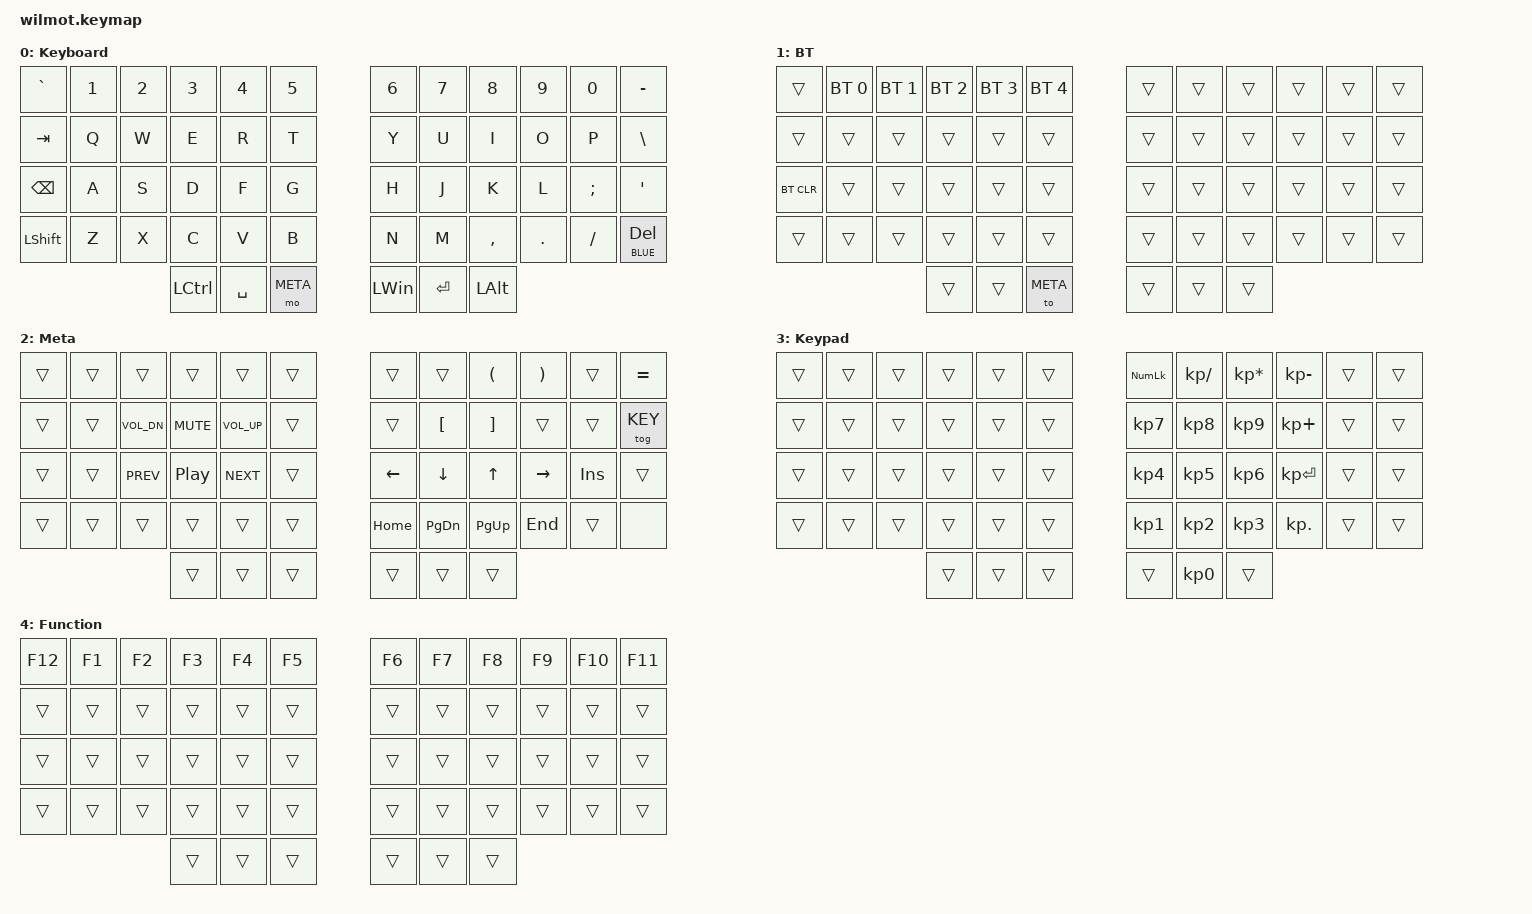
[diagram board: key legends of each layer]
#include <behaviors.dtsi>
#include <dt-bindings/zmk/keys.h>
#include <dt-bindings/zmk/bt.h>

#define DEFAULT 0
#define BLUE 1
#define META 2
#define KEY 3
#define FUNCTION 4

/ {
    combos {
        compatible = "zmk,combos";
        combo_esc {
            timeout-ms = <50>;
            key-positions = <13 14>; // pressing Q and W at the same time
            bindings = <&kp ESC>;
        };

        combo_function_layer {
            timeout-ms = <50>;
            key-positions = <49 50>; // pressing SPACE and META at the same time
            bindings = <&mo FUNCTION>;
        };
    };

    keymap {
        compatible = "zmk,keymap";

        default_layer { // DEFAULT
            
            display-name = "Keyboard"; //max of 8 characters

            bindings = <
        //   -------------------------------------------------------------                        -------------------------------------------------------------
        //   |    `    |    1    |    2    |    3    |    4    |    5    |                        |    6    |    7    |    8    |    9    |    0    |   -     |
              &kp GRAVE   &kp N1    &kp N2    &kp N3    &kp N4    &kp N5                             &kp N6    &kp N7    &kp N8    &kp N9    &kp N0  &kp MINUS 
        //   -------------------------------------------------------------                        -------------------------------------------------------------
        //   |   TAB   |    Q    |    W    |    E    |    R    |    T    |                        |    Y    |    U    |    I    |    O    |    P    |   \     |
               &kp TAB    &kp Q     &kp W     &kp E     &kp R     &kp T                              &kp Y     &kp U     &kp I     &kp O     &kp P    &kp BSLH
        //   -------------------------------------------------------------                        -------------------------------------------------------------
        //   |BACKSPACE|    A    |    S    |    D    |    F    |    G    |                        |    H    |    J    |    K    |    L    |    ;    |   '     |
           &kp BACKSPACE  &kp A     &kp S     &kp D     &kp F     &kp G                              &kp H     &kp J     &kp K     &kp L    &kp SEMI  &kp SQT 
        //   -------------------------------------------------------------                        -------------------------------------------------------------
        //   |  SHIFT  |    Z    |    X    |    C    |    V    |    B    |                        |    N    |    M    |    ,    |    .    |    /    |BLUE/DEL |
             &kp LSHIFT   &kp Z     &kp X     &kp C     &kp V     &kp B                              &kp N     &kp M   &kp COMMA &kp PERIOD &kp SLASH &lt BLUE DELETE
        //   ------------------------------------------------------------------------   -----------------------------------------------------------------------
        //                                           |   CTRL  |  SPACE  |META(TEMP)|   | WINDOWS |  ENTER  |   ALT   |
                                                      &kp LCTRL &kp SPACE  &mo META      &kp LWIN  &kp ENTER  &kp LALT 
        //                                           --------------------------------   -------------------------------
            >;
        };


        bluetooth_layer { // BLUE

            display-name = "BT"; //max of 8 characters

            bindings = <
        //   -------------------------------------------------------------------------------         -------------------------------------------------------------
        //   |            |     BT0    |     BT1    |     BT2    |     BT3    |     BT4    |         |         |         |         |         |         |         |
                 &trans    &bt BT_SEL 0 &bt BT_SEL 1 &bt BT_SEL 2 &bt BT_SEL 3 &bt BT_SEL 4            &trans    &trans    &trans    &trans    &trans    &trans  
        //   -------------------------------------------------------------------------------         -------------------------------------------------------------
        //   |            |            |            |            |            |            |         |         |         |         |         |         |         |
                 &trans       &trans       &trans       &trans       &trans       &trans               &trans    &trans    &trans    &trans    &trans    &trans  
        //   -------------------------------------------------------------------------------         -------------------------------------------------------------
        //   |  BT CLEAR  |            |            |            |            |            |         |         |         |         |         |         |         |
               &bt BT_CLR     &trans       &trans       &trans       &trans       &trans               &trans    &trans    &trans    &trans    &trans    &trans  
        //   -------------------------------------------------------------------------------         -------------------------------------------------------------
        //   |            |            |            |            |            |            |         |         |         |         |         |         |         |
                 &trans       &trans       &trans       &trans       &trans       &trans               &trans    &trans    &trans    &trans    &trans    &trans  
        //   -------------------------------------------------------------------------------         -----------------------------------------------------------------------
        //                                           |           |            |META(TOGGLE)|         |         |         |         |
                                                        &trans       &trans      &to META              &trans    &trans    &trans   
        //                                           ---------------------------------------         -------------------------------
            >;
        };


        meta_layer { // META

            display-name = "Meta"; //max of 8 characters

            bindings = <
        //   -------------------------------------------------------------                        -------------------------------------------------------------
        //   |         |         |         |         |         |         |                        |         |         |    (    |    )    |         |    =+   |
               &trans     &trans    &trans    &trans    &trans    &trans                            &trans     &trans   &kp LPAR  &kp RPAR   &trans  &kp EQUAL 
        //   -------------------------------------------------------------                        -------------------------------------------------------------
        //   |         |         | VOL DOWN|  MUTE   | VOL UP  |         |                        |         |   [     |    ]    |         |         | KEYPAD  |
               &trans   &trans &kp C_VOL_DN &kp C_MUTE &kp C_VOL_UP &trans                           &trans  &kp LBKT  &kp RBKT    &trans    &trans  &tog KEY  
        //   -------------------------------------------------------------                        -------------------------------------------------------------
        //   |         |         |  PREV   |PLAY/PAUS|   NEXT  |         |                        |  LEFT   |  DOWN   |   UP    |  RIGHT  | INSERT  |         |
                &trans    &trans  &kp C_PREV &kp C_PP &kp C_NEXT  &trans                            &kp LEFT  &kp DOWN  &kp UP   &kp RIGHT  &kp INS    &trans  
        //   -------------------------------------------------------------                        -------------------------------------------------------------
        //   |         |         |         |         |         |         |                        |  HOME   | PG DOWN |  PG UP  |   END   |         |         |
               &trans     &trans    &trans    &trans    &trans    &trans                            &kp HOME &kp PG_DN &kp PG_UP  &kp END   &trans     &none   
        //   ------------------------------------------------------------------------   -----------------------------------------------------------------------
        //                                           |         |         |          |   |         |         |         |
                                                        &trans    &trans    &trans        &trans    &trans    &trans
        //                                           --------------------------------   -------------------------------
            >;
        };

        
        keypad_layer { // KEY

            display-name = "Keypad"; //max of 8 characters

            bindings = <
        //   -------------------------------------------------------------                        -------------------------------------------------------------
        //   |         |         |         |         |         |         |                        | NUM LOCK|    /    |    *    |    -    |         |         |
               &trans     &trans    &trans    &trans    &trans    &trans                        &kp KP_NUM &kp KP_SLASH &kp KP_MULTIPLY &kp KP_MINUS &trans &trans  
        //   -------------------------------------------------------------                        -------------------------------------------------------------
        //   |         |         |         |         |         |         |                        |    7    |    8    |    9    |    +    |         |         |
               &trans     &trans    &trans    &trans    &trans    &trans                           &kp KP_N7 &kp KP_N8 &kp KP_N9 &kp KP_PLUS &trans    &trans  
        //   -------------------------------------------------------------                        -------------------------------------------------------------
        //   |         |         |         |         |         |         |                        |    4    |    5    |    6    |  ENTER  |         |         |
               &trans     &trans    &trans    &trans    &trans    &trans                           &kp KP_N4 &kp KP_N5 &kp KP_N6 &kp KP_ENTER &trans   &trans  
        //   -------------------------------------------------------------                        -------------------------------------------------------------
        //   |         |         |         |         |         |         |                        |    1    |    2    |    3    |    .    |         |         |
               &trans     &trans    &trans    &trans    &trans    &trans                           &kp KP_N1 &kp KP_N2 &kp KP_N3 &kp KP_DOT  &trans    &trans  
        //   ------------------------------------------------------------------------   -----------------------------------------------------------------------
        //                                           |         |         |          |   |         |   0     |         |
                                                        &trans    &trans    &trans        &trans   &kp KP_N0  &trans
        //                                           --------------------------------   -------------------------------
            >;
        };


        function_layer { // FUNCTION

            display-name = "Function"; //max of 8 characters

            bindings = <
        //   -------------------------------------------------------------                        -------------------------------------------------------------
        //   |   F12   |   F1    |   F2    |   F3    |   F4    |   F5    |                        |   F6    |   F7    |   F8    |   F9    |   F10   |   F11   |
               &kp F12    &kp F1    &kp F2    &kp F3    &kp F4    &kp F5                             &kp F6    &kp F7    &kp F8    &kp F9   &kp F10   &kp F11 
        //   -------------------------------------------------------------                        -------------------------------------------------------------
        //   |         |         |         |         |         |         |                        |         |         |         |         |         |         |
               &trans    &trans    &trans    &trans    &trans    &trans                              &trans    &trans    &trans    &trans    &trans    &trans  
        //   -------------------------------------------------------------                        -------------------------------------------------------------
        //   |         |         |         |         |         |         |                        |         |         |         |         |         |         |
               &trans    &trans    &trans    &trans    &trans    &trans                              &trans    &trans    &trans    &trans    &trans    &trans  
        //   -------------------------------------------------------------                        -------------------------------------------------------------
        //   |         |         |         |         |         |         |                        |         |         |         |         |         |         |
               &trans    &trans    &trans    &trans    &trans    &trans                              &trans    &trans    &trans    &trans    &trans    &trans  
        //   ------------------------------------------------------------------------   -----------------------------------------------------------------------
        //                                           |         |         |          |   |         |         |         |
                                                        &trans    &trans    &trans        &trans    &trans    &trans
        //                                           --------------------------------   -------------------------------
            >;
        };
    };
 };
